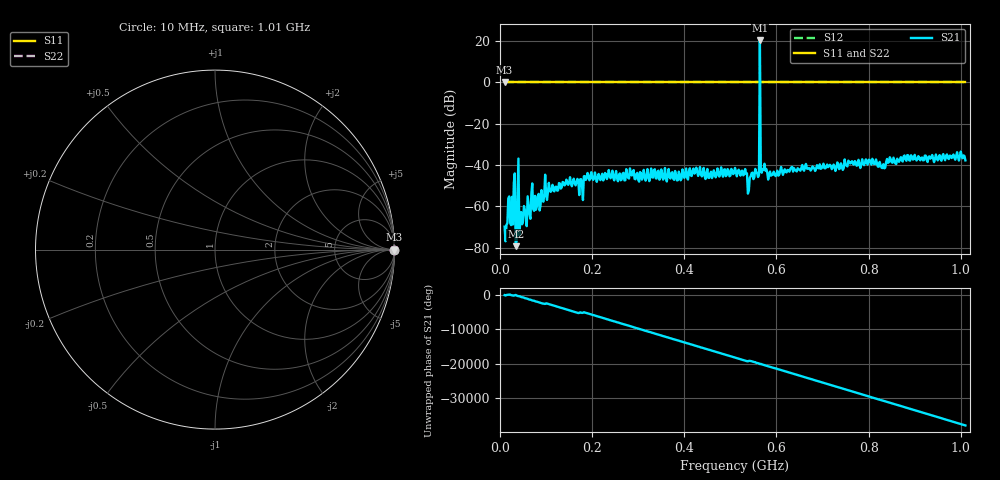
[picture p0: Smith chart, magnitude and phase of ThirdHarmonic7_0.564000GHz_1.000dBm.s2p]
! 8/17/2025 5:17:48 PM
! C:\ANRITSUVNA\TEMP\TEMP.S2P
! CHANNEL.1
! TR.MEASUREMENT
! RAW.DATA
! RF.CORRECTION.OFF
! AVERAGING.OFF
! IF.BANDWIDTH: 5KHZ
! SWEEPTYPE:  FREQ.SWEEP(Linear)
! Reference Plane Port Info
! PORT:  PORT1  PORT2
! DISTANCE:  0  m  0  m
! TIME:  0  s  0  s
! PHASE.OFFSET:  0  deg.  0  deg.
! LOSS:  0  dB  0  dB
! REF.LOSS:  0  dB  0  dB
! REF.FREQ:  0  Hz  0  Hz
! Power Info
! POWER:  -20  dBm  -20  dBm
! EFF.POWER:  -20  dBm  -20  dBm
! SOURCE.ATTEN:  0  dB  0  dB
! TEST.ATTEN:  0  dB  0  dB
# GHZ S RI R 50.0
! FREQ.GHZ  S11RE  S11IM  S21RE  S21IM  S12RE  S12IM  S22RE  S22IM
!; PortSelection: Port_12
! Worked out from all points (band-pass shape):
!   501 points, 10 MHz to 1.01 GHz, reference 50 ohm
!   highest |S21| = 20.09 dB at 564 MHz (marker M1); lowest = -79.2 dB at 34 MHz (marker M2)
!   |S21| within 3 dB of the highest: 563.9076 MHz to 564.0955 MHz (187.8 kHz wide, 0.0333 % of centre)
!   lowest |S11| = 0.0 dB at 10 MHz (marker M3)
!   |S11| at or under -10 dB: nowhere
!   |S22| runs from 0.0 to 0.0 dB; largest |S21 - S12| = 10
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0.01  1 0  0.000189 -0.000265  1 0  1 0
0.028  1 0  -0.0003 -0.000211  1 0  1 0
0.034  1 0  0.00011 -7.4e-06  1 0  1 0
0.036  1 0  -0.000107 -0.0001  1 0  1 0
0.038  1 0  0.000519 0.00125  1 0  1 0
0.042  1 0  0.000199 -1.87e-05  1 0  1 0
0.046  1 0  -0.000558 0.00047  1 0  1 0
0.072  1 0  -0.000686 0.00053  1 0  1 0
0.076  1 0  0.00179 -0.000216  1 0  1 0
0.102  1 0  0.00126 0.000686  1 0  1 0
0.178  1 0  -0.00323 -0.000273  1 0  1 0
0.344  1 0  0.0065 -0.00329  1 0  1 0
0.51  1 0  -0.0085 0.000186  1 0  1 0
0.54  1 0  0.00115 -0.00212  1 0  1 0
0.558  1 0  0.0035 0.00544  1 0  1 0
0.56  1 0  0.00505 -0.000798  1 0  1 0
0.564  1 0  0.7935 10.07  1 0  1 0
0.568  1 0  0.0062 0.00199  1 0  1 0
0.57  1 0  0.00326 -0.0072  1 0  1 0
0.678  1 0  0.00554 -0.00732  1 0  1 0
0.844  1 0  -0.00602 0.0101  1 0  1 0
1.01  1 0  5.84e-05 -0.0129  1 0  1 0
